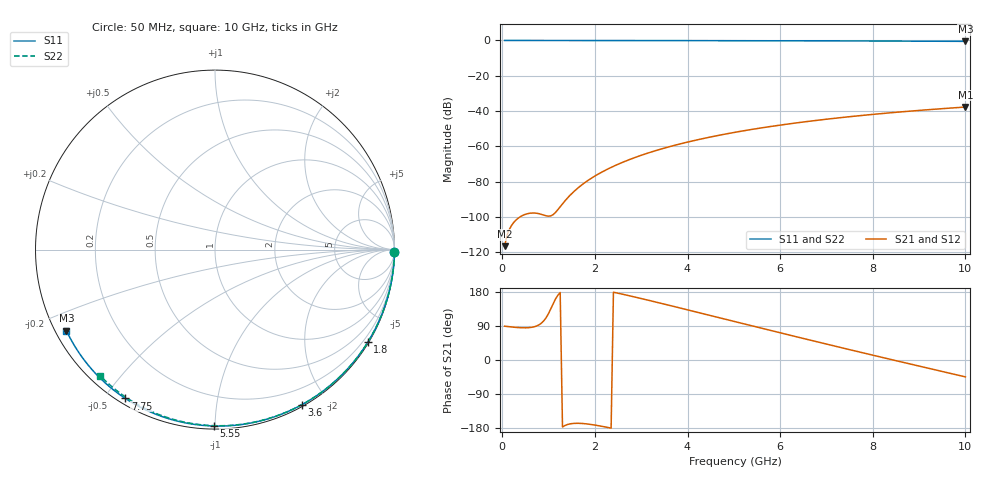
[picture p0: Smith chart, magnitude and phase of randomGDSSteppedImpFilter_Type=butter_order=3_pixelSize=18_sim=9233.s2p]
! freq	dB(S11)	phase(S11)	dB(S12)	phase(S12)
!  dB(S21)	phase(S21)	dB(S22)	phase(S22)
!S-par simulation data
#  GHz  S  DB  R 50
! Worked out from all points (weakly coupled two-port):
!   200 points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, 50 MHz to 10 GHz, reference 50 ohm
!   highest |S21| = -37.73 dB at 10 GHz (marker M1); lowest = -116.5 dB at 50 MHz (marker M2)
!   lowest |S11| = -0.5 dB at 10 GHz (marker M3), VSWR 34.03, Z = 1.56 - j12.7 ohm
!   |S11| at or under -10 dB: nowhere
!   |S22| runs from -0.4 to 0.0 dB; largest |S21 - S12| = 0
!   S11 on the Smith chart (normalised r, x): 50 MHz: open; 1.8 GHz: 0.03, -3.59; 3.6 GHz: 0.02, -1.71; 5.55 GHz: 0.02, -0.99; 7.75 GHz: 0.02, -0.56; 10 GHz: 0.03, -0.25
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0.05  -0.00 -0.9  -116.53 89.3  -116.53 89.3  -0.00 -0.8
0.45  -0.01 -7.9  -98.98 85.0  -98.98 85.0  -0.01 -6.9
0.9  -0.02 -15.7  -98.96 103.9  -98.96 103.9  -0.02 -13.7
1.3  -0.03 -22.6  -92.55 -176.7  -92.55 -176.7  -0.02 -19.6
1.75  -0.04 -30.3  -81.15 -167.7  -81.15 -167.7  -0.03 -26.3
1.8  -0.04 -31.2  -80.20 -168.3  -80.20 -168.3  -0.03 -27.1
2.15  -0.05 -37.0  -74.55 -174.9  -74.55 -174.9  -0.04 -32.2
2.5  -0.06 -42.9  -70.11 176.2  -70.11 176.2  -0.05 -37.3
2.9  -0.06 -49.4  -65.97 165.1  -65.97 165.1  -0.06 -43.0
3.4  -0.08 -57.5  -61.72 150.4  -61.72 150.4  -0.07 -50.1
3.6  -0.08 -60.7  -60.24 144.4  -60.24 144.4  -0.07 -52.9
3.9  -0.09 -65.4  -58.20 135.4  -58.20 135.4  -0.08 -57.1
4.3  -0.10 -71.6  -55.77 123.3  -55.77 123.3  -0.09 -62.5
5.05  -0.13 -82.9  -51.90 100.5  -51.90 100.5  -0.11 -72.5
5.55  -0.15 -90.3  -49.71 85.3  -49.71 85.3  -0.13 -79.1
6.1  -0.17 -98.2  -47.58 68.8  -47.58 68.8  -0.15 -86.0
6.7  -0.21 -106.6  -45.54 50.9  -45.54 50.9  -0.18 -93.5
7.2  -0.24 -113.6  -44.02 36.1  -44.02 36.1  -0.21 -99.6
7.75  -0.28 -121.1  -42.51 20.0  -42.51 20.0  -0.24 -106.2
8.35  -0.33 -129.2  -41.04 2.6  -41.04 2.6  -0.29 -113.2
9.2  -0.42 -140.6  -39.21 -21.8  -39.21 -21.8  -0.36 -123.1
10  -0.51 -151.4  -37.73 -44.5  -37.73 -44.5  -0.44 -132.3
